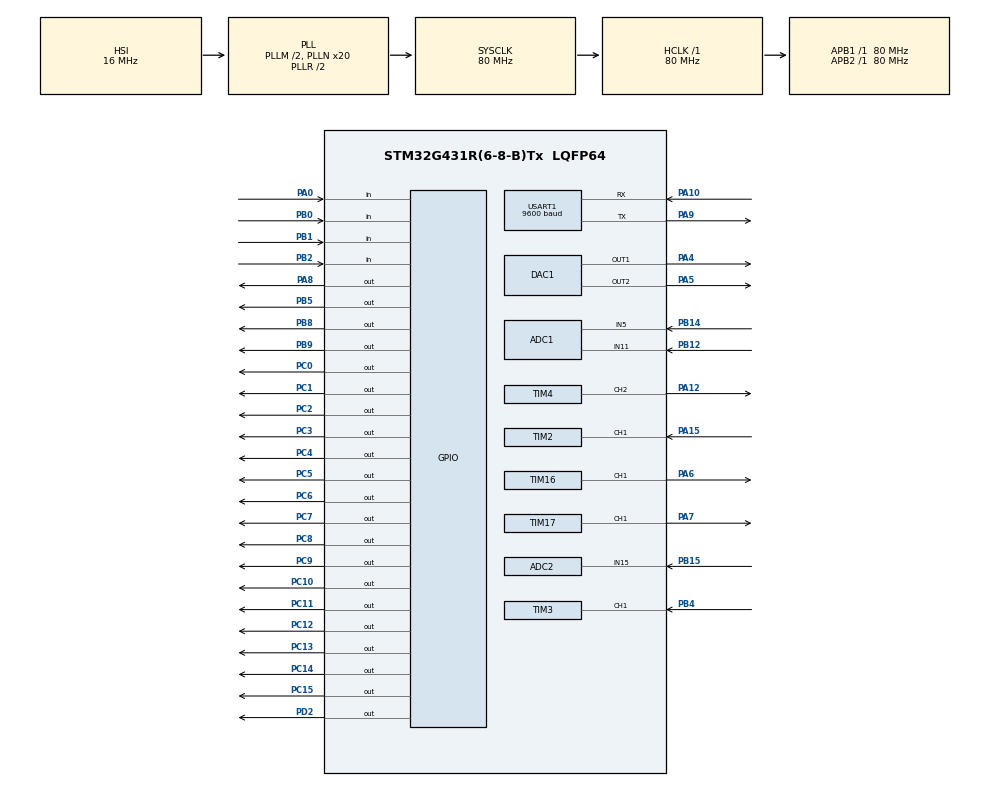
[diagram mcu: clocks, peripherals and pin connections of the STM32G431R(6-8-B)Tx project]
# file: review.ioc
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ADC1.Channel-0\#ChannelRegularConversion=ADC_CHANNEL_11
ADC1.Channel-1\#ChannelRegularConversion=ADC_CHANNEL_5
ADC1.NbrOfConversion=2
ADC1.NbrOfConversionFlag=1
ADC1.OffsetNumber-0\#ChannelRegularConversion=ADC_OFFSET_NONE
ADC1.OffsetNumber-1\#ChannelRegularConversion=ADC_OFFSET_NONE
ADC1.Rank-0\#ChannelRegularConversion=1
ADC1.Rank-1\#ChannelRegularConversion=2
ADC1.SamplingTime-0\#ChannelRegularConversion=ADC_SAMPLETIME_640CYCLES_5
ADC1.SamplingTime-1\#ChannelRegularConversion=ADC_SAMPLETIME_640CYCLES_5
ADC1.master=1
ADC2.Channel-0\#ChannelRegularConversion=ADC_CHANNEL_15
ADC2.NbrOfConversionFlag=1
ADC2.OffsetNumber-0\#ChannelRegularConversion=ADC_OFFSET_NONE
ADC2.Rank-0\#ChannelRegularConversion=1
ADC2.SamplingTime-0\#ChannelRegularConversion=ADC_SAMPLETIME_2CYCLES_5
DAC1.DAC_Channel-DAC_OUT2=DAC_CHANNEL_2
Mcu.Family=STM32G4
Mcu.Name=STM32G431R(6-8-B)Tx
Mcu.Package=LQFP64
NVIC.PriorityGroup=NVIC_PRIORITYGROUP_4
NVIC.TIM1_BRK_TIM15_IRQn=true\:0\:0\:false\:false\:true\:true\:true\:true
NVIC.TIM2_IRQn=true\:0\:0\:false\:false\:true\:true\:true\:true
NVIC.TIM3_IRQn=true\:0\:0\:false\:false\:true\:true\:true\:true
NVIC.TIM6_DAC_IRQn=true\:0\:0\:false\:false\:true\:true\:true\:true
NVIC.TIM7_IRQn=true\:0\:0\:false\:false\:true\:true\:true\:true
NVIC.USART1_IRQn=true\:0\:0\:false\:false\:true\:true\:true\:true
PA0.Signal=GPIO_Input
PA10.Mode=Asynchronous
PA10.Signal=USART1_RX
PA12.Signal=S_TIM4_CH2
PA15.Signal=S_TIM2_CH1
PA4.Signal=COMP_DAC11_group
PA5.Signal=COMP_DAC12_group
PA6.Signal=S_TIM16_CH1
PA7.Signal=S_TIM17_CH1
PA8.Signal=GPIO_Output
PA9.Mode=Asynchronous
PA9.Signal=USART1_TX
PB0.Signal=GPIO_Input
PB1.Signal=GPIO_Input
PB12.Mode=IN11-Single-Ended
PB12.Signal=ADC1_IN11
PB14.Mode=IN5-Single-Ended
PB14.Signal=ADC1_IN5
PB15.Mode=IN15-Single-Ended
PB15.Signal=ADC2_IN15
PB2.Signal=GPIO_Input
PB4.Signal=S_TIM3_CH1
PB5.Signal=GPIO_Output
PB8-BOOT0.Signal=GPIO_Output
PB9.Signal=GPIO_Output
PC0.Signal=GPIO_Output
PC1.Signal=GPIO_Output
PC10.Signal=GPIO_Output
PC11.Signal=GPIO_Output
PC12.Signal=GPIO_Output
PC13.Signal=GPIO_Output
PC14-OSC32_IN.Signal=GPIO_Output
PC15-OSC32_OUT.Signal=GPIO_Output
PC2.Signal=GPIO_Output
PC3.Signal=GPIO_Output
PC4.Signal=GPIO_Output
PC5.Signal=GPIO_Output
PC6.Signal=GPIO_Output
PC7.Signal=GPIO_Output
PC8.Signal=GPIO_Output
PC9.Signal=GPIO_Output
PD2.Signal=GPIO_Output
PF0-OSC_IN.Mode=HSE-External-Oscillator
PF0-OSC_IN.Signal=RCC_OSC_IN
PF1-OSC_OUT.Mode=HSE-External-Oscillator
PF1-OSC_OUT.Signal=RCC_OSC_OUT
ProjectManager.HeapSize=0x200
ProjectManager.StackSize=0x400
ProjectManager.TargetToolchain=MDK-ARM V5
RCC.ADC12Freq_Value=80000000
RCC.AHBFreq_Value=80000000
RCC.APB1Freq_Value=80000000
RCC.APB1TimFreq_Value=80000000
RCC.APB2Freq_Value=80000000
RCC.APB2TimFreq_Value=80000000
RCC.CortexFreq_Value=80000000
RCC.EXTERNAL_CLOCK_VALUE=12288000
RCC.HCLKFreq_Value=80000000
RCC.HSE_VALUE=24000000
RCC.HSI48_VALUE=48000000
RCC.HSI_VALUE=16000000
RCC.LSE_VALUE=32768
RCC.PLLM=RCC_PLLM_DIV2
RCC.PLLN=20
RCC.SYSCLKFreq_VALUE=80000000
RCC.SYSCLKSource=RCC_SYSCLKSOURCE_PLLCLK
RCC.USBFreq_Value=80000000
RCC.VCOOutputFreq_Value=160000000
RTC.AsynchPrediv=31
RTC.Date=4
RTC.HourFormat=RTC_HOURFORMAT_24
RTC.Hours=12
RTC.Minutes=59
RTC.Month=RTC_MONTH_APRIL
RTC.Seconds=56
RTC.SynchPrediv=999
RTC.Year=24
SH.COMP_DAC11_group.0=DAC1_OUT1,DAC_OUT1
SH.COMP_DAC12_group.0=DAC1_OUT2,DAC_OUT2
SH.S_TIM16_CH1.0=TIM16_CH1,PWM Generation1 CH1
SH.S_TIM17_CH1.0=TIM17_CH1,PWM Generation1 CH1
SH.S_TIM2_CH1.0=TIM2_CH1,Input_Capture1_from_TI1
SH.S_TIM3_CH1.0=TIM3_CH1,Input_Capture1_from_TI1
SH.S_TIM4_CH2.0=TIM4_CH2,PWM Generation2 CH2
TIM15.AutoReloadPreload=TIM_AUTORELOAD_PRELOAD_ENABLE
TIM15.PeriodNoDither=999
TIM15.Prescaler=7999
TIM16.AutoReloadPreload=TIM_AUTORELOAD_PRELOAD_ENABLE
TIM16.Channel=TIM_CHANNEL_1
TIM16.PeriodNoDither=999
TIM16.Prescaler=79
TIM16.PulseNoDither_1=500
TIM17.Channel=TIM_CHANNEL_1
TIM17.PeriodNoDither=499
TIM17.Prescaler=79
TIM17.PulseNoDither_1=250
TIM2.Channel-Input_Capture1_from_TI1=TIM_CHANNEL_1
TIM2.PeriodNoDither=0xffffffff
TIM2.Prescaler=79
TIM3.Channel-Input_Capture1_from_TI1=TIM_CHANNEL_1
TIM3.PeriodNoDither=0xffff
TIM3.Prescaler=79
TIM4.AutoReloadPreload=TIM_AUTORELOAD_PRELOAD_ENABLE
TIM4.Channel-PWM\ Generation2\ CH2=TIM_CHANNEL_2
TIM4.PeriodNoDither=19
TIM4.Prescaler=79
TIM7.AutoReloadPreload=TIM_AUTORELOAD_PRELOAD_ENABLE
TIM7.PeriodNoDither=999
TIM7.Prescaler=7999
USART1.BaudRate=9600
USART1.VirtualMode-Asynchronous=VM_ASYNC
VP_RTC_VS_RTC_Activate.Mode=RTC_Enabled
VP_RTC_VS_RTC_Calendar.Mode=RTC_Calendar
VP_SYS_VS_DBSignals.Mode=DisableDeadBatterySignals
VP_TIM15_VS_ClockSourceINT.Mode=Internal
VP_TIM16_VS_ClockSourceINT.Mode=Enable_Timer
VP_TIM17_VS_ClockSourceINT.Mode=Enable_Timer
VP_TIM7_VS_ClockSourceINT.Mode=Enable_Timer
board=custom

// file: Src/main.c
/* USER CODE BEGIN Header */
/**
  ******************************************************************************
  * @file           : main.c
  * @brief          : Main program body
  ******************************************************************************
  * @attention
  *
  * <h2><center>&copy; Copyright (c) 2021 STMicroelectronics.
  * All rights reserved.</center></h2>
  *
  * This software component is licensed by ST under BSD 3-Clause license,
  * the "License"; You may not use this file except in compliance with the
  * License. You may obtain a copy of the License at:
  *                        opensource.org/licenses/BSD-3-Clause
  *
  ******************************************************************************
  */
/* USER CODE END Header */

#include "main.h"
#include "adc.h"
#include "dac.h"
#include "rtc.h"
#include "tim.h"
#include "usart.h"
#include "gpio.h"

/* USER CODE BEGIN Includes */
#include "led.h"
#include "key.h"
#include "stdio.h"
#include "i2c_hal.h"
#include "string.h"

/* USER CODE END Includes */

void SystemClock_Config(void);

/* USER CODE BEGIN 0 */

//KEY
uint32_t keyTick = 0;
void Key_Process(void)
{
	if(uwTick - keyTick < 20) return;
	keyTick = uwTick;

	Key_Read();

	if(Trg & 0x01)
	{
		LCD_Clear(Black);
		//正向显示
		LCD_WriteReg(R1,0x0000); //从上往下
		LCD_WriteReg(R96,0x2700);//从左往右

	}

	if(Trg & 0x02)
	{
		LCD_Clear(Black);
		//和正向左右镜面对称
		LCD_WriteReg(R1,0x0000);
		LCD_WriteReg(R96,0xA700);//从右往左
	}

	if(Trg & 0x04)
	{
		LCD_Clear(Black);
		//和反向左右镜面对称
		LCD_WriteReg(R1,0x0100);//从下往上
		LCD_WriteReg(R96,0x2700);
	}

	if(Trg & 0x08)
	{
		//反向显示
		LCD_Clear(Black);
		LCD_WriteReg(R1,0x0100);
		LCD_WriteReg(R96,0xA700);
	}
}

//ADC
u32 adc_val1,adc_val2;
float r37_v,r38_v;
u32 mcp_adc;
float mcp_v;

void ADC_Process(void)
{
	HAL_ADC_Start(&hadc2);
	adc_val2 = HAL_ADC_GetValue(&hadc2);
	r37_v = adc_val2/4095.0f * 3.3f;

	//r38
	HAL_ADC_Start(&hadc1);
	adc_val1 = HAL_ADC_GetValue(&hadc1);
	r38_v = adc_val1/4095.0f * 3.3f;
	//mcp
	HAL_ADC_Start(&hadc1);
	mcp_adc = HAL_ADC_GetValue(&hadc1);
	mcp_v = mcp_adc/4095.0f*3.3f;

}

//EEPROM
u8 start_times = 0;

//MCP4017
u8 mcp_val;

//DAC
u16 dac_ch1_val,dac_ch2_val;
double dac_ch1_v = 1.1,dac_ch2_v = 2.2;
//void DAC_Process(void)
//{
//	//4095 -- 3.3v
//	dac_ch1_val = (dac_ch1_v/3.3f*4095.0f);
//	dac_ch2_val = (dac_ch2_v/3.3f*4095.0f);
//
//	HAL_DAC_SetValue(&hdac1,DAC_CHANNEL_1,DAC_ALIGN_12B_R,dac_ch1_val);
//	HAL_DAC_Start(&hdac1,DAC_CHANNEL_1);
//
//	HAL_DAC_SetValue(&hdac1,DAC_CHANNEL_2,DAC_ALIGN_12B_R,dac_ch2_val);
//	HAL_DAC_Start(&hdac1,DAC_CHANNEL_2);
//
//}

void DAC_Process(void)
{
	dac_ch1_val = (u16)(dac_ch1_v/3.3*4095);
	dac_ch2_val = (u16)(dac_ch2_v/3.3*4095);
	HAL_DAC_SetValue(&hdac1,DAC_CHANNEL_1,DAC_ALIGN_12B_R,dac_ch1_val);
	HAL_DAC_Start(&hdac1,DAC_CHANNEL_1);

	HAL_DAC_SetValue(&hdac1,DAC_CHANNEL_2,DAC_ALIGN_12B_R,dac_ch2_val);
	HAL_DAC_Start(&hdac1,DAC_CHANNEL_2);

}

//RTC
RTC_TimeTypeDef rtc_Time = {0};
RTC_DateTypeDef rtc_Date = {0};

void RTC_Process(void)
{
	HAL_RTC_GetTime(&hrtc,&rtc_Time,RTC_FORMAT_BIN);
	HAL_RTC_GetDate(&hrtc,&rtc_Date,RTC_FORMAT_BIN);
}

void Set_Time(u8 hour,u8 min,u8 sec)
{
	RTC_TimeTypeDef s_time = {0};

	s_time.Hours = hour;
	s_time.Minutes = min;
	s_time.Seconds = sec;

	HAL_RTC_SetTime(&hrtc,&s_time,RTC_FORMAT_BIN);
}

//UART
//发送
u8 tx_buf[100] = {"你好hello!\r\n"};

//接受
u8 uart_buf[2];
u8 rx_buf[100];
u8 rx_cnt = 0;

uint32_t uartTick = 0;
void Rx_Idle(void)
{
	if(uwTick - uartTick < 50) return;
	uartTick = uwTick;

	if(rx_cnt > 0)
	{
		rx_cnt = 0;
		memset(rx_buf,'\0',sizeof(rx_buf));
	}

}

void HAL_UART_RxCpltCallback(UART_HandleTypeDef *huart)
{
	uartTick = uwTick;
	HAL_UART_Receive_IT(&huart1,uart_buf,1);
  rx_buf[rx_cnt++] = uart_buf[0];

	if(uart_buf[0] == '\n')
	{
		rx_cnt = 0;
		//Led_Control(rx_buf[1]);
		//HAL_UART_Transmit(&huart1,rx_buf,3,50); //发送定长，可以首字符为00
		printf("%s",rx_buf); //printf发送第一个字符为00时，无法正常发送
		//printf("\r\n");//0d 0a
		memset(rx_buf,'\0',sizeof(rx_buf));
	}
}

//TIM_IC
u32 tim2_cnt1;
u32 f40;

u32 tim3_cnt1;
u32 f39;

//duty
u8 tim2_state = 0;
u32 tim2_cnt2;
float d40;

u8 tim3_state = 0;
u32 tim3_cnt2;
float d39;

void HAL_TIM_IC_CaptureCallback(TIM_HandleTypeDef *htim)
{
	if(htim == &htim2)
	{
		if(tim2_state == 0)
		{
			__HAL_TIM_SetCounter(&htim2,0);
			TIM2->CCER |=0x02;
			tim2_state = 1;
		}
		else if(tim2_state == 1)
		{
			tim2_cnt1 = __HAL_TIM_GetCounter(&htim2);
			TIM2->CCER &=~0x02;
			tim2_state = 2;
		}
		else if(tim2_state == 2)
		{
			tim2_cnt2 = __HAL_TIM_GetCounter(&htim2);
			f40 = 1e6/tim2_cnt2;
			d40 = tim2_cnt1*100.0f/tim2_cnt2;

			tim2_state = 0;
		}

		HAL_TIM_IC_Start_IT(&htim2,TIM_CHANNEL_1);
	}

	if(htim == &htim3)
	{
		if(tim3_state == 0)
		{
			__HAL_TIM_SetCounter(&htim3,0);
			TIM3->CCER |=0x02;
			tim3_state = 1;
		}
		else if(tim3_state == 1)
		{
			tim3_cnt1 = __HAL_TIM_GetCounter(&htim3);
			TIM3->CCER &=~0x02;
			tim3_state = 2;
		}
		else if(tim3_state == 2)
		{
			tim3_cnt2 = __HAL_TIM_GetCounter(&htim3);
			f39 = 1e6/tim3_cnt2;
			d39 = tim3_cnt1*100.0f/tim3_cnt2;

			tim3_state = 0;
		}

		HAL_TIM_IC_Start_IT(&htim3,TIM_CHANNEL_1);
	}
}

//PWM
void PWM_Process(void)
{
	TIM16->ARR = 99;//10k
	TIM16->CCR1 = (TIM16->ARR + 1)*0.35f; //加上f，更加准确

	TIM17->ARR = 49;//20K
	TIM17->CCR1 = (TIM17->ARR + 1)*0.75f;

	//需要写
//  TIM4->ARR = 19;//20K
//	TIM4->CCR2 = (TIM4->ARR + 1)*0.45f;

}

//TIM7
u32 tim15_cnt = 0;
_Bool led_blink = 0;
void HAL_TIM_PeriodElapsedCallback(TIM_HandleTypeDef *htim)
{
//  if(htim->Instance == TIM15)
//	{
//		tim15_cnt++;
//		if(tim15_cnt == 5)//500ms
//		{
//			tim15_cnt = 0;
//			led_blink = !led_blink;
//		}

//	}

}

//LED
uint32_t ledTick = 0;
u8 led_ctrl = 0xff;
void Led_Process(void)
{
//	if(uwTick - ledTick < 500) return;
//	ledTick = uwTick;
	if(led_blink == 0)
		led_ctrl = 0xff;
	else
		led_ctrl = 0x00;
	//led_ctrl = ~led_ctrl;
	Led_Control(led_ctrl);

}

//LCD
uint32_t lcdTick = 0;
void LCD_Process(void)
{
	if(uwTick - lcdTick < 200) return;
	lcdTick = uwTick;

	u8 Display_Buf[30];

	sprintf((char*)Display_Buf,"%02x",15);
	LCD_DisplayStringLine(Line0,Display_Buf);

	sprintf((char*)Display_Buf,"r37:%4.2f,r38:%4.2f",r37_v,r38_v);
	LCD_DisplayStringLine(Line1,Display_Buf);

	sprintf((char*)Display_Buf,"st:%d  mcp:%4.2f",start_times,mcp_v);
	LCD_DisplayStringLine(Line2,Display_Buf);

	sprintf((char*)Display_Buf,"T:%02d-%02d-%02d",rtc_Time.Hours,rtc_Time.Minutes,rtc_Time.Seconds);
	LCD_DisplayStringLine(Line3,Display_Buf);

	sprintf((char*)Display_Buf,"D:%02d-%02d-%02d",rtc_Date.Year,rtc_Date.Month,rtc_Date.Date);
	LCD_DisplayStringLine(Line4,Display_Buf);

	sprintf((char*)Display_Buf,"f39:%-5d f40:%-5d",f39,f40);
	LCD_DisplayStringLine(Line5,Display_Buf);

	sprintf((char*)Display_Buf,"d39:%4.1f d40:%4.1f",d39,d40);
	LCD_DisplayStringLine(Line6,Display_Buf);

	sprintf((char*)Display_Buf,"CCR1:%-5d",TIM16->CCR1);
	LCD_DisplayStringLine(Line7,Display_Buf);

}

/* USER CODE END 0 */

int main(void)
{

  /* MCU Configuration--------------------------------------------------------*/

  /* Reset of all peripherals, Initializes the Flash interface and the Systick. */
  HAL_Init();

  /* Configure the system clock */
  SystemClock_Config();

  /* Initialize all configured peripherals */
  MX_GPIO_Init();
  MX_ADC1_Init();
  MX_ADC2_Init();
  MX_DAC1_Init();
  MX_RTC_Init();
  MX_USART1_UART_Init();
  MX_TIM2_Init();
  MX_TIM3_Init();
  MX_TIM16_Init();
  MX_TIM17_Init();
  MX_TIM4_Init();
  MX_TIM15_Init();
  MX_TIM7_Init();
  /* USER CODE BEGIN 2 */

   LCD_Init();
//
//	 //EEPROM
//	 I2CInit();
//
//	 //统计开机次数
//	 if(EEPROM_Read(0x10)!= 123)
//	 {
//		 EEPROM_Write(0x10,123);
//		 EEPROM_Write(0x01,0);
//	 }
//
//	 start_times = EEPROM_Read(0x01)+1;
//	 EEPROM_Write(0x01,start_times);
//
//	 EEPROM_Write(0x01,0);
//	 EEPROM_Write(0x10,0);
//

	 //MCP4017
	 MCP4017_Write(0x20);
	 mcp_val = MCP4017_Read();

	 //UART
	 HAL_UART_Receive_IT(&huart1,uart_buf,1);

	 //TIM_IC
	 HAL_TIM_IC_Start_IT(&htim2,TIM_CHANNEL_1);
	 HAL_TIM_IC_Start_IT(&htim3,TIM_CHANNEL_1);

	 //PWM
	 HAL_TIM_PWM_Start(&htim16,TIM_CHANNEL_1);
	 HAL_TIM_PWM_Start(&htim17,TIM_CHANNEL_1);

	 HAL_TIM_PWM_Start(&htim4,TIM_CHANNEL_2);

	 //tim15
	 HAL_TIM_Base_Start_IT(&htim15);//开启定时器中断

  /* USER CODE END 2 */

  /* Infinite loop */
  /* USER CODE BEGIN WHILE */

    LCD_Clear(Black);
    LCD_SetBackColor(Black);
    LCD_SetTextColor(White);

//    LCD_DrawLine(120, 0, 320, Horizontal);
//    LCD_DrawLine(0, 160, 240, Vertical);
//    HAL_Delay(1000);
//    LCD_Clear(Blue);

//    LCD_DrawRect(70, 210, 100, 100);
//    HAL_Delay(1000);
//    LCD_Clear(Blue);

//    LCD_DrawCircle(120, 160, 50);
//    HAL_Delay(1000);

//    LCD_Clear(Blue);
//    LCD_DisplayStringLine(Line4, (unsigned char *)"    Hello,world.   ");
//    HAL_Delay(1000);

//    LCD_SetBackColor(White);
//    LCD_DisplayStringLine(Line0, (unsigned char *)"                    ");
//    LCD_SetBackColor(Black);
//    LCD_DisplayStringLine(Line1, (unsigned char *)"                    ");
//    LCD_SetBackColor(Grey);
//    LCD_DisplayStringLine(Line2, (unsigned char *)"                    ");
//    LCD_SetBackColor(Blue);
//    LCD_DisplayStringLine(Line3, (unsigned char *)"                    ");
//    LCD_SetBackColor(Blue2);
//    LCD_DisplayStringLine(Line4, (unsigned char *)"                    ");
//    LCD_SetBackColor(Red);
//    LCD_DisplayStringLine(Line5, (unsigned char *)"                    ");
//    LCD_SetBackColor(Magenta);
//    LCD_DisplayStringLine(Line6, (unsigned char *)"                    ");
//    LCD_SetBackColor(Green);
//    LCD_DisplayStringLine(Line7, (unsigned char *)"                    ");
//    LCD_SetBackColor(Cyan);
//    LCD_DisplayStringLine(Line8, (unsigned char *)"                    ");
//    LCD_SetBackColor(Yellow);
//    LCD_DisplayStringLine(Line9, (unsigned char *)"                    ");

	//Led_Control(0x00);
	//Set_Time(22,11,54);
	//HAL_UART_Transmit(&huart1,tx_buf,sizeof(tx_buf)-1,50);//50ms
	  printf("你好\r\n");

    while (1)
    {
    /* USER CODE END WHILE */

    /* USER CODE BEGIN 3 */
//		Led_Control(0x55);
//		HAL_Delay(500);
//		Led_Control(0x00);
//		HAL_Delay(500);
			//Led_Process();
			Key_Process();
			ADC_Process();
			LCD_Process();
			Led_Process();
			DAC_Process();
			RTC_Process();
			Rx_Idle();
			PWM_Process();
    }
  /* USER CODE END 3 */
}

void SystemClock_Config(void)
{
  RCC_OscInitTypeDef RCC_OscInitStruct = {0};
  RCC_ClkInitTypeDef RCC_ClkInitStruct = {0};
  RCC_PeriphCLKInitTypeDef PeriphClkInit = {0};

  /** Configure the main internal regulator output voltage
  */
  HAL_PWREx_ControlVoltageScaling(PWR_REGULATOR_VOLTAGE_SCALE1);
  /** Initializes the CPU, AHB and APB busses clocks
  */
  RCC_OscInitStruct.OscillatorType = RCC_OSCILLATORTYPE_HSI|RCC_OSCILLATORTYPE_LSI;
  RCC_OscInitStruct.HSIState = RCC_HSI_ON;
  RCC_OscInitStruct.HSICalibrationValue = RCC_HSICALIBRATION_DEFAULT;
  RCC_OscInitStruct.LSIState = RCC_LSI_ON;
  RCC_OscInitStruct.PLL.PLLState = RCC_PLL_ON;
  RCC_OscInitStruct.PLL.PLLSource = RCC_PLLSOURCE_HSI;
  RCC_OscInitStruct.PLL.PLLM = RCC_PLLM_DIV2;
  RCC_OscInitStruct.PLL.PLLN = 20;
  RCC_OscInitStruct.PLL.PLLP = RCC_PLLP_DIV2;
  RCC_OscInitStruct.PLL.PLLQ = RCC_PLLQ_DIV2;
  RCC_OscInitStruct.PLL.PLLR = RCC_PLLR_DIV2;
  if (HAL_RCC_OscConfig(&RCC_OscInitStruct) != HAL_OK)
  {
    Error_Handler();
  }
  /** Initializes the CPU, AHB and APB busses clocks
  */
  RCC_ClkInitStruct.ClockType = RCC_CLOCKTYPE_HCLK|RCC_CLOCKTYPE_SYSCLK
                              |RCC_CLOCKTYPE_PCLK1|RCC_CLOCKTYPE_PCLK2;
  RCC_ClkInitStruct.SYSCLKSource = RCC_SYSCLKSOURCE_PLLCLK;
  RCC_ClkInitStruct.AHBCLKDivider = RCC_SYSCLK_DIV1;
  RCC_ClkInitStruct.APB1CLKDivider = RCC_HCLK_DIV1;
  RCC_ClkInitStruct.APB2CLKDivider = RCC_HCLK_DIV1;

  if (HAL_RCC_ClockConfig(&RCC_ClkInitStruct, FLASH_LATENCY_3) != HAL_OK)
  {
    Error_Handler();
  }
  /** Initializes the peripherals clocks
  */
  PeriphClkInit.PeriphClockSelection = RCC_PERIPHCLK_RTC|RCC_PERIPHCLK_USART1
                              |RCC_PERIPHCLK_ADC12;
  PeriphClkInit.Usart1ClockSelection = RCC_USART1CLKSOURCE_PCLK2;
  PeriphClkInit.Adc12ClockSelection = RCC_ADC12CLKSOURCE_SYSCLK;
  PeriphClkInit.RTCClockSelection = RCC_RTCCLKSOURCE_LSI;

  if (HAL_RCCEx_PeriphCLKConfig(&PeriphClkInit) != HAL_OK)
  {
    Error_Handler();
  }
}

void Error_Handler(void)
{
}

/************************ (C) COPYRIGHT STMicroelectronics *****END OF FILE****/
